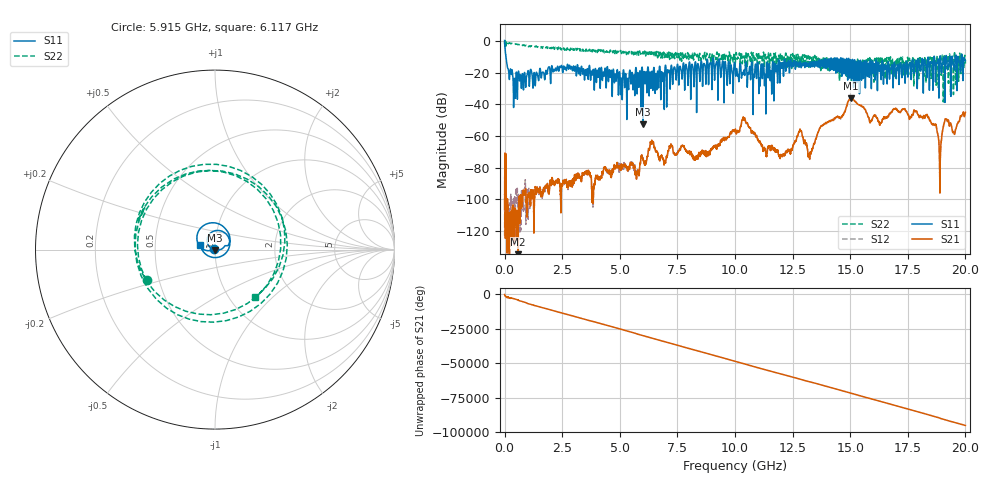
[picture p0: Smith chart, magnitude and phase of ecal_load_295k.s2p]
! MS46122B
! 2250307/22442219
! 7/31/2025 8:20:02 AM
! C:\USERS\SPARKY\DOCUMENTS\VNA_DATA\JULY31_2025\295K\ECAL_LOAD.S2P
! CHANNEL.1
! TR.MEASUREMENT
! RAW.DATA
# GHZ S RI R 50.0
! FREQ.GHZ  S11RE  S11IM  S21RE  S21IM  S12RE  S12IM  S22RE  S22IM
!; PortSelection: Port_12
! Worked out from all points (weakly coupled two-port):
!   10001 points, 1 MHz to 20 GHz, reference 50 ohm
!   highest |S21| = -36.22 dB at 15.05 GHz (marker M1); lowest = -140.0 dB at 595 MHz (marker M2)
!   lowest |S11| = -52.6 dB at 6.015 GHz (marker M3), VSWR 1.00, Z = 49.8 - j0.148 ohm
!   |S11| at or under -10 dB: 59.52 MHz to 18.63 GHz (18.57 GHz wide, 199 % of centre); 18.66 GHz to 18.89 GHz (235.7 MHz wide, 1.26 % of centre); 18.92 GHz to 19.15 GHz (228.1 MHz wide, 1.2 % of centre) (the widest 3 of 9)
!   |S22| runs from -38.5 to 0.0 dB; largest |S21 - S12| = 0.0018
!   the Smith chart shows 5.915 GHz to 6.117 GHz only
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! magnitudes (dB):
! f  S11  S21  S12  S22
! 1 MHz  0.4  -106.0  -123.1  -0.2
! 379 MHz  -29.2  -105.4  -105.8  -1.7
! 595 MHz  -19.3  -140.0  -100.3  -2.2
! 3.335 GHz  -15.9  -88.4  -88.5  -5.4
! 6.015 GHz  -52.6  -74.7  -74.5  -7.1
! 6.397 GHz  -19.2  -63.2  -63.3  -7.4
! 6.669 GHz  -23.4  -72.1  -73.0  -7.4
! 8.309 GHz  -16.2  -73.2  -74.5  -9.0
! 10 GHz  -15.2  -56.3  -56.3  -14.5
! 10.4 GHz  -18.9  -49.4  -49.2  -9.5
! 11.99 GHz  -13.6  -71.8  -72.2  -8.0
! 12.83 GHz  -13.0  -56.1  -56.5  -15.0
! 13.33 GHz  -13.7  -69.0  -68.7  -12.4
! 13.72 GHz  -13.4  -53.8  -53.8  -18.4
! 15.05 GHz  -18.2  -36.2  -36.3  -22.3
! 15.87 GHz  -12.0  -51.6  -51.7  -12.8
! 16.67 GHz  -13.7  -47.3  -47.4  -10.4
! 18.35 GHz  -15.4  -46.6  -46.9  -12.4
! 18.89 GHz  -10.2  -87.5  -87.8  -13.4
! 19.16 GHz  -9.1  -49.5  -49.1  -16.3
! 19.52 GHz  -17.5  -58.9  -59.0  -7.9
! 20 GHz  -12.4  -45.0  -45.6  -14.2
